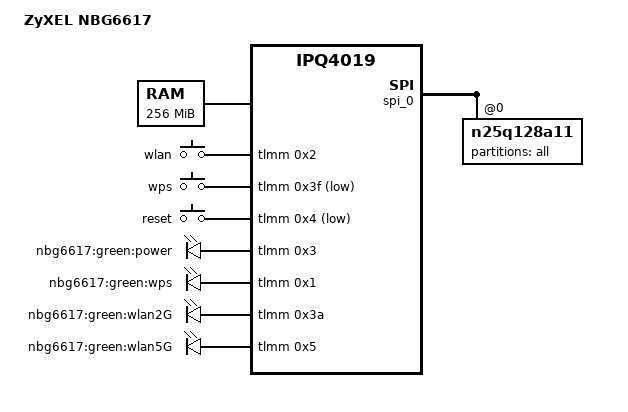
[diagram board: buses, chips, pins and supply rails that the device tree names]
/* Copyright (c) 2015, The Linux Foundation. All rights reserved.
 *
 * Permission to use, copy, modify, and/or distribute this software for any
 * purpose with or without fee is hereby granted, provided that the above
 * copyright notice and this permission notice appear in all copies.
 *
 * THE SOFTWARE IS PROVIDED "AS IS" AND THE AUTHOR DISCLAIMS ALL WARRANTIES
 * WITH REGARD TO THIS SOFTWARE INCLUDING ALL IMPLIED WARRANTIES OF
 * MERCHANTABILITY AND FITNESS. IN NO EVENT SHALL THE AUTHOR BE LIABLE FOR
 * ANY SPECIAL, DIRECT, INDIRECT, OR CONSEQUENTIAL DAMAGES OR ANY DAMAGES
 * WHATSOEVER RESULTING FROM LOSS OF USE, DATA OR PROFITS, WHETHER IN AN
 * ACTION OF CONTRACT, NEGLIGENCE OR OTHER TORTIOUS ACTION, ARISING OUT OF
 * OR IN CONNECTION WITH THE USE OR PERFORMANCE OF THIS SOFTWARE.
 *
 */

#include "qcom-ipq4019-ap.dk01.1.dtsi"
#include "qcom-ipq4019-bus.dtsi"
#include <dt-bindings/gpio/gpio.h>
#include <dt-bindings/input/input.h>

/ {
	model = "ZyXEL NBG6617";
	compatible = "zyxel,nbg6617", "qcom,ipq4019";

	memory {
		device_type = "memory";
		reg = <0x80000000 0x10000000>;
	};

	aliases {
		led-boot = &power;
		led-failsafe = &power;
		led-running = &power;
		led-upgrade = &power;
	};

	reserved-memory {
		#address-cells = <0x1>;
		#size-cells = <0x1>;
		ranges;

		rsvd1@87000000 {
			reg = <0x87000000 0x0500000>;
			no-map;
		};

		wifi_dump@87500000 {
			reg = <0x87500000 0x600000>;
			no-map;
		};

		rsvd2@87B00000 {
			reg = <0x87b00000 0x500000>;
			no-map;
		};
	};

	soc {
		pinctrl@1000000 {
			led_pinmux {
				mux {
					pins = "gpio0", "gpio1", "gpio3", "gpio5", "gpio58";
					drive-strength = <0x8>;
					bias-pull-up;
					output-high;
				};
			};
		};
	};

	gpio-keys {
		compatible = "gpio-keys";

		wlan {
			label = "wlan";
			gpios = <&tlmm 0x2 GPIO_ACTIVE_HIGH>;
			linux,code = <KEY_RFKILL>;
		};

		wps {
			label = "wps";
			gpios = <&tlmm 0x3f GPIO_ACTIVE_LOW>;
			linux,code = <KEY_WPS_BUTTON>;
		};

		reset {
			label = "reset";
			gpios = <&tlmm 0x4 GPIO_ACTIVE_LOW>;
			linux,code = <KEY_RESTART>;
		};
	};

	gpio-leds {
		compatible = "gpio-leds";

		power: power {
			label = "nbg6617:green:power";
			gpios = <&tlmm 0x3 GPIO_ACTIVE_HIGH>;
		};

		wps {
			label = "nbg6617:green:wps";
			gpios = <&tlmm 0x1 GPIO_ACTIVE_HIGH>;
		};

		wlan2G {
			label = "nbg6617:green:wlan2G";
			gpios = <&tlmm 0x3a GPIO_ACTIVE_HIGH>;
		};

		wlan5G {
			label = "nbg6617:green:wlan5G";
			gpios = <&tlmm 0x5 GPIO_ACTIVE_HIGH>;
		};
	};
};

&spi_0 { /* BLSP1 QUP1 */
	n25q128a11@0 {
		status = "okay";

		partitions {
			compatible = "fixed-partitions";
			#address-cells = <1>;
			#size-cells = <1>;

			partition0@0 {
				label = "all";
				reg = <0x00000000 0x08000000>;
				read-only; /* for now */
			};
		};
	};
};
